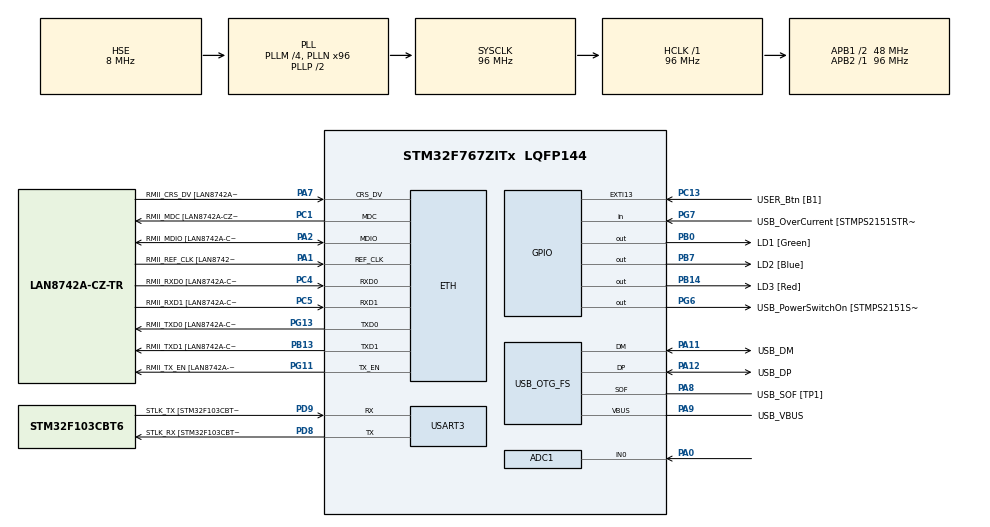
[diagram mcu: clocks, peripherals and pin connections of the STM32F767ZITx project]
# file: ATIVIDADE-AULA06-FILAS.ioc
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ADC1.Channel-0\#ChannelRegularConversion=ADC_CHANNEL_0
ADC1.NbrOfConversionFlag=1
ADC1.Rank-0\#ChannelRegularConversion=1
ADC1.SamplingTime-0\#ChannelRegularConversion=ADC_SAMPLETIME_3CYCLES
ADC1.master=1
ETH.MediaInterface=HAL_ETH_RMII_MODE
ETH.PHY_Name=LAN8742A_PHY_ADDRESS
ETH.PHY_Value=0
ETH.PhyAddress=0
FREERTOS.BinarySemaphores01=SemLiberaProdutor,Dynamic,NULL,Depleted;SemLiberaConsumidor,Dynamic,NULL,Depleted
FREERTOS.Queues01=FilaRobson,1024,uint16_t,0,Dynamic,NULL,NULL
FREERTOS.Tasks01=Tarefa_produtor,24,128,Tarefa_produtora_fun,Default,NULL,Dynamic,NULL,NULL;Tarefa_consumid,24,128,Tarefa_consumidora_fun,Default,NULL,Dynamic,NULL,NULL
FREERTOS.configUSE_NEWLIB_REENTRANT=1
Mcu.Family=STM32F7
Mcu.Name=STM32F767ZITx
Mcu.Package=LQFP144
NVIC.EXTI15_10_IRQn=true\:5\:0\:false\:false\:true\:true\:true\:true\:true
NVIC.PriorityGroup=NVIC_PRIORITYGROUP_4
NVIC.TIM1_UP_TIM10_IRQn=true\:15\:0\:false\:false\:true\:false\:false\:true\:true
NVIC.TimeBase=TIM1_UP_TIM10_IRQn
NVIC.TimeBaseIP=TIM1
PA0/WKUP.Signal=ADCx_IN0
PA1.GPIO_Label=RMII_REF_CLK [LAN8742A-CZ-TR_REFCLK0]
PA1.Mode=RMII
PA1.Signal=ETH_REF_CLK
PA10.GPIO_Label=USB_ID
PA10.Signal=USB_OTG_FS_ID
PA11.GPIO_Label=USB_DM
PA11.Mode=Device_Only
PA11.Signal=USB_OTG_FS_DM
PA12.GPIO_Label=USB_DP
PA12.Mode=Device_Only
PA12.Signal=USB_OTG_FS_DP
PA13.GPIO_Label=TMS
PA13.Mode=Serial_Wire
PA13.Signal=SYS_JTMS-SWDIO
PA14.GPIO_Label=TCK
PA14.Mode=Serial_Wire
PA14.Signal=SYS_JTCK-SWCLK
PA2.GPIO_Label=RMII_MDIO [LAN8742A-CZ-TR_MDIO]
PA2.Mode=RMII
PA2.Signal=ETH_MDIO
PA7.GPIO_Label=RMII_CRS_DV [LAN8742A-CZ-TR_CRS_DV]
PA7.Mode=RMII
PA7.Signal=ETH_CRS_DV
PA8.GPIO_Label=USB_SOF [TP1]
PA8.Mode=Activate_SOF_FS
PA8.Signal=USB_OTG_FS_SOF
PA9.GPIO_Label=USB_VBUS
PA9.Mode=Activate_VBUS
PA9.Signal=USB_OTG_FS_VBUS
PB0.GPIO_Label=LD1 [Green]
PB0.Signal=GPIO_Output
PB13.GPIO_Label=RMII_TXD1 [LAN8742A-CZ-TR_TXD1]
PB13.Mode=RMII
PB13.Signal=ETH_TXD1
PB14.GPIO_Label=LD3 [Red]
PB14.Signal=GPIO_Output
PB3.GPIO_Label=SWO
PB3.Signal=SYS_JTDO-SWO
PB7.GPIO_Label=LD2 [Blue]
PB7.Signal=GPIO_Output
PC1.GPIO_Label=RMII_MDC [LAN8742A-CZ-TR_MDC]
PC1.Mode=RMII
PC1.Signal=ETH_MDC
PC13.GPIO_Label=USER_Btn [B1]
PC13.Signal=GPXTI13
PC14/OSC32_IN.Mode=LSE-External-Oscillator
PC14/OSC32_IN.Signal=RCC_OSC32_IN
PC15/OSC32_OUT.Mode=LSE-External-Oscillator
PC15/OSC32_OUT.Signal=RCC_OSC32_OUT
PC4.GPIO_Label=RMII_RXD0 [LAN8742A-CZ-TR_RXD0]
PC4.Mode=RMII
PC4.Signal=ETH_RXD0
PC5.GPIO_Label=RMII_RXD1 [LAN8742A-CZ-TR_RXD1]
PC5.Mode=RMII
PC5.Signal=ETH_RXD1
PD8.GPIO_Label=STLK_RX [STM32F103CBT6_PA3]
PD8.Mode=Asynchronous
PD8.Signal=USART3_TX
PD9.GPIO_Label=STLK_TX [STM32F103CBT6_PA2]
PD9.Mode=Asynchronous
PD9.Signal=USART3_RX
PG11.GPIO_Label=RMII_TX_EN [LAN8742A-CZ-TR_TXEN]
PG11.Mode=RMII
PG11.Signal=ETH_TX_EN
PG13.GPIO_Label=RMII_TXD0 [LAN8742A-CZ-TR_TXD0]
PG13.Mode=RMII
PG13.Signal=ETH_TXD0
PG6.GPIO_Label=USB_PowerSwitchOn [STMPS2151STR_EN]
PG6.Signal=GPIO_Output
PG7.GPIO_Label=USB_OverCurrent [STMPS2151STR_FAULT]
PG7.Signal=GPIO_Input
PH0/OSC_IN.GPIO_Label=MCO [STM32F103CBT6_PA8]
PH0/OSC_IN.Mode=HSE-External-Clock-Source
PH0/OSC_IN.Signal=RCC_OSC_IN
PH1/OSC_OUT.Mode=HSE-External-Clock-Source
PH1/OSC_OUT.Signal=RCC_OSC_OUT
ProjectManager.HeapSize=0x200
ProjectManager.StackSize=0x400
ProjectManager.TargetToolchain=STM32CubeIDE
RCC.48MHZClocksFreq_Value=24000000
RCC.AHBFreq_Value=96000000
RCC.APB1CLKDivider=RCC_HCLK_DIV2
RCC.APB1Freq_Value=48000000
RCC.APB1TimFreq_Value=96000000
RCC.APB2Freq_Value=96000000
RCC.APB2TimFreq_Value=96000000
RCC.CortexFreq_Value=96000000
RCC.HCLKFreq_Value=96000000
RCC.HSE_VALUE=8000000
RCC.HSI_VALUE=16000000
RCC.PLLM=4
RCC.PLLMUL=RCC_PLL_MUL9
RCC.PLLN=96
RCC.PLLQ=4
RCC.PRESCALERUSB=RCC_USBCLKSOURCE_PLL_DIV1_5
RCC.SYSCLKFreq_VALUE=96000000
RCC.SYSCLKSource=RCC_SYSCLKSOURCE_PLLCLK
RCC.SYSCLKSourceVirtual=RCC_SYSCLKSOURCE_PLLCLK
RCC.USBFreq_Value=48000000
RCC.VCOOutputFreq_Value=192000000
SH.ADCx_IN0.0=ADC1_IN0,IN0
USART3.VirtualMode-Asynchronous=VM_ASYNC
USB_OTG_FS.VirtualMode=Device_Only
VP_FREERTOS_VS_CMSIS_V2.Mode=CMSIS_V2
VP_SYS_VS_tim1.Mode=TIM1
board=NUCLEO-F767ZI

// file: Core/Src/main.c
/* USER CODE BEGIN Header */
/**
  ******************************************************************************
  * @file           : main.c
  * @brief          : Main program body
  ******************************************************************************
  * @attention
  *
  * Copyright (c) 2025 STMicroelectronics.
  * All rights reserved.
  *
  * This software is licensed under terms that can be found in the LICENSE file
  * in the root directory of this software component.
  * If no LICENSE file comes with this software, it is provided AS-IS.
  *
  ******************************************************************************
  */
/* USER CODE END Header */
#include "main.h"
#include "string.h"
#include "cmsis_os.h"

#if defined ( __ICCARM__ ) /*!< IAR Compiler */
#pragma location=0x2007c000
ETH_DMADescTypeDef  DMARxDscrTab[ETH_RX_DESC_CNT]; /* Ethernet Rx DMA Descriptors */
#pragma location=0x2007c0a0
ETH_DMADescTypeDef  DMATxDscrTab[ETH_TX_DESC_CNT]; /* Ethernet Tx DMA Descriptors */

#elif defined ( __CC_ARM )  /* MDK ARM Compiler */

__attribute__((at(0x2007c000))) ETH_DMADescTypeDef  DMARxDscrTab[ETH_RX_DESC_CNT]; /* Ethernet Rx DMA Descriptors */
__attribute__((at(0x2007c0a0))) ETH_DMADescTypeDef  DMATxDscrTab[ETH_TX_DESC_CNT]; /* Ethernet Tx DMA Descriptors */

#elif defined ( __GNUC__ ) /* GNU Compiler */

ETH_DMADescTypeDef DMARxDscrTab[ETH_RX_DESC_CNT] __attribute__((section(".RxDecripSection"))); /* Ethernet Rx DMA Descriptors */
ETH_DMADescTypeDef DMATxDscrTab[ETH_TX_DESC_CNT] __attribute__((section(".TxDecripSection")));   /* Ethernet Tx DMA Descriptors */
#endif

ETH_TxPacketConfig TxConfig;

ADC_HandleTypeDef hadc1;

ETH_HandleTypeDef heth;

UART_HandleTypeDef huart3;

PCD_HandleTypeDef hpcd_USB_OTG_FS;

/* Definitions for Tarefa_produtor */
osThreadId_t Tarefa_produtorHandle;
const osThreadAttr_t Tarefa_produtor_attributes = {
  .name = "Tarefa_produtor",
  .stack_size = 128 * 4,
  .priority = (osPriority_t) osPriorityNormal,
};
/* Definitions for Tarefa_consumid */
osThreadId_t Tarefa_consumidHandle;
const osThreadAttr_t Tarefa_consumid_attributes = {
  .name = "Tarefa_consumid",
  .stack_size = 128 * 4,
  .priority = (osPriority_t) osPriorityNormal,
};
/* Definitions for FilaRobson */
osMessageQueueId_t FilaRobsonHandle;
const osMessageQueueAttr_t FilaRobson_attributes = {
  .name = "FilaRobson"
};
/* Definitions for SemLiberaProdutor */
osSemaphoreId_t SemLiberaProdutorHandle;
const osSemaphoreAttr_t SemLiberaProdutor_attributes = {
  .name = "SemLiberaProdutor"
};
/* Definitions for SemLiberaConsumidor */
osSemaphoreId_t SemLiberaConsumidorHandle;
const osSemaphoreAttr_t SemLiberaConsumidor_attributes = {
  .name = "SemLiberaConsumidor"
};
/* USER CODE BEGIN PV */

int lista_leitura_do_adc[1050];

/* USER CODE END PV */

void SystemClock_Config(void);
static void MX_GPIO_Init(void);
static void MX_ETH_Init(void);
static void MX_USART3_UART_Init(void);
static void MX_USB_OTG_FS_PCD_Init(void);
static void MX_ADC1_Init(void);
void Tarefa_produtora_fun(void *argument);
void Tarefa_consumidora_fun(void *argument);

int main(void)
{

  /* MCU Configuration--------------------------------------------------------*/

  /* Reset of all peripherals, Initializes the Flash interface and the Systick. */
  HAL_Init();

  /* Configure the system clock */
  SystemClock_Config();

  /* Initialize all configured peripherals */
  MX_GPIO_Init();
  MX_ETH_Init();
  MX_USART3_UART_Init();
  MX_USB_OTG_FS_PCD_Init();
  MX_ADC1_Init();

  /* Init scheduler */
  osKernelInitialize();

  /* Create the semaphores(s) */
  /* creation of SemLiberaProdutor */
  SemLiberaProdutorHandle = osSemaphoreNew(1, 0, &SemLiberaProdutor_attributes);

  /* creation of SemLiberaConsumidor */
  SemLiberaConsumidorHandle = osSemaphoreNew(1, 0, &SemLiberaConsumidor_attributes);

  /* Create the queue(s) */
  /* creation of FilaRobson */
  FilaRobsonHandle = osMessageQueueNew (1024, sizeof(uint16_t), &FilaRobson_attributes);

  /* Create the thread(s) */
  /* creation of Tarefa_produtor */
  Tarefa_produtorHandle = osThreadNew(Tarefa_produtora_fun, NULL, &Tarefa_produtor_attributes);

  /* creation of Tarefa_consumid */
  Tarefa_consumidHandle = osThreadNew(Tarefa_consumidora_fun, NULL, &Tarefa_consumid_attributes);

  /* Start scheduler */
  osKernelStart();

  /* We should never get here as control is now taken by the scheduler */

  /* Infinite loop */
  while (1)
  {

  }
}

void SystemClock_Config(void)
{
  RCC_OscInitTypeDef RCC_OscInitStruct = {0};
  RCC_ClkInitTypeDef RCC_ClkInitStruct = {0};

  /** Configure LSE Drive Capability
  */
  HAL_PWR_EnableBkUpAccess();

  /** Configure the main internal regulator output voltage
  */
  __HAL_RCC_PWR_CLK_ENABLE();
  __HAL_PWR_VOLTAGESCALING_CONFIG(PWR_REGULATOR_VOLTAGE_SCALE3);

  /** Initializes the RCC Oscillators according to the specified parameters
  * in the RCC_OscInitTypeDef structure.
  */
  RCC_OscInitStruct.OscillatorType = RCC_OSCILLATORTYPE_HSE;
  RCC_OscInitStruct.HSEState = RCC_HSE_BYPASS;
  RCC_OscInitStruct.PLL.PLLState = RCC_PLL_ON;
  RCC_OscInitStruct.PLL.PLLSource = RCC_PLLSOURCE_HSE;
  RCC_OscInitStruct.PLL.PLLM = 4;
  RCC_OscInitStruct.PLL.PLLN = 96;
  RCC_OscInitStruct.PLL.PLLP = RCC_PLLP_DIV2;
  RCC_OscInitStruct.PLL.PLLQ = 4;
  RCC_OscInitStruct.PLL.PLLR = 2;
  if (HAL_RCC_OscConfig(&RCC_OscInitStruct) != HAL_OK)
  {
    Error_Handler();
  }

  /** Activate the Over-Drive mode
  */
  if (HAL_PWREx_EnableOverDrive() != HAL_OK)
  {
    Error_Handler();
  }

  /** Initializes the CPU, AHB and APB buses clocks
  */
  RCC_ClkInitStruct.ClockType = RCC_CLOCKTYPE_HCLK|RCC_CLOCKTYPE_SYSCLK
                              |RCC_CLOCKTYPE_PCLK1|RCC_CLOCKTYPE_PCLK2;
  RCC_ClkInitStruct.SYSCLKSource = RCC_SYSCLKSOURCE_PLLCLK;
  RCC_ClkInitStruct.AHBCLKDivider = RCC_SYSCLK_DIV1;
  RCC_ClkInitStruct.APB1CLKDivider = RCC_HCLK_DIV2;
  RCC_ClkInitStruct.APB2CLKDivider = RCC_HCLK_DIV1;

  if (HAL_RCC_ClockConfig(&RCC_ClkInitStruct, FLASH_LATENCY_3) != HAL_OK)
  {
    Error_Handler();
  }
}

static void MX_ADC1_Init(void)
{

  ADC_ChannelConfTypeDef sConfig = {0};

  /** Configure the global features of the ADC (Clock, Resolution, Data Alignment and number of conversion)
  */
  hadc1.Instance = ADC1;
  hadc1.Init.ClockPrescaler = ADC_CLOCK_SYNC_PCLK_DIV4;
  hadc1.Init.Resolution = ADC_RESOLUTION_12B;
  hadc1.Init.ScanConvMode = ADC_SCAN_DISABLE;
  hadc1.Init.ContinuousConvMode = DISABLE;
  hadc1.Init.DiscontinuousConvMode = DISABLE;
  hadc1.Init.ExternalTrigConvEdge = ADC_EXTERNALTRIGCONVEDGE_NONE;
  hadc1.Init.ExternalTrigConv = ADC_SOFTWARE_START;
  hadc1.Init.DataAlign = ADC_DATAALIGN_RIGHT;
  hadc1.Init.NbrOfConversion = 1;
  hadc1.Init.DMAContinuousRequests = DISABLE;
  hadc1.Init.EOCSelection = ADC_EOC_SINGLE_CONV;
  if (HAL_ADC_Init(&hadc1) != HAL_OK)
  {
    Error_Handler();
  }

  /** Configure for the selected ADC regular channel its corresponding rank in the sequencer and its sample time.
  */
  sConfig.Channel = ADC_CHANNEL_0;
  sConfig.Rank = ADC_REGULAR_RANK_1;
  sConfig.SamplingTime = ADC_SAMPLETIME_3CYCLES;
  if (HAL_ADC_ConfigChannel(&hadc1, &sConfig) != HAL_OK)
  {
    Error_Handler();
  }

}

static void MX_ETH_Init(void)
{

   static uint8_t MACAddr[6];

  heth.Instance = ETH;
  MACAddr[0] = 0x00;
  MACAddr[1] = 0x80;
  MACAddr[2] = 0xE1;
  MACAddr[3] = 0x00;
  MACAddr[4] = 0x00;
  MACAddr[5] = 0x00;
  heth.Init.MACAddr = &MACAddr[0];
  heth.Init.MediaInterface = HAL_ETH_RMII_MODE;
  heth.Init.TxDesc = DMATxDscrTab;
  heth.Init.RxDesc = DMARxDscrTab;
  heth.Init.RxBuffLen = 1524;

  if (HAL_ETH_Init(&heth) != HAL_OK)
  {
    Error_Handler();
  }

  memset(&TxConfig, 0 , sizeof(ETH_TxPacketConfig));
  TxConfig.Attributes = ETH_TX_PACKETS_FEATURES_CSUM | ETH_TX_PACKETS_FEATURES_CRCPAD;
  TxConfig.ChecksumCtrl = ETH_CHECKSUM_IPHDR_PAYLOAD_INSERT_PHDR_CALC;
  TxConfig.CRCPadCtrl = ETH_CRC_PAD_INSERT;

}

static void MX_USART3_UART_Init(void)
{

  huart3.Instance = USART3;
  huart3.Init.BaudRate = 115200;
  huart3.Init.WordLength = UART_WORDLENGTH_8B;
  huart3.Init.StopBits = UART_STOPBITS_1;
  huart3.Init.Parity = UART_PARITY_NONE;
  huart3.Init.Mode = UART_MODE_TX_RX;
  huart3.Init.HwFlowCtl = UART_HWCONTROL_NONE;
  huart3.Init.OverSampling = UART_OVERSAMPLING_16;
  huart3.Init.OneBitSampling = UART_ONE_BIT_SAMPLE_DISABLE;
  huart3.AdvancedInit.AdvFeatureInit = UART_ADVFEATURE_NO_INIT;
  if (HAL_UART_Init(&huart3) != HAL_OK)
  {
    Error_Handler();
  }

}

static void MX_USB_OTG_FS_PCD_Init(void)
{

  hpcd_USB_OTG_FS.Instance = USB_OTG_FS;
  hpcd_USB_OTG_FS.Init.dev_endpoints = 6;
  hpcd_USB_OTG_FS.Init.speed = PCD_SPEED_FULL;
  hpcd_USB_OTG_FS.Init.dma_enable = DISABLE;
  hpcd_USB_OTG_FS.Init.phy_itface = PCD_PHY_EMBEDDED;
  hpcd_USB_OTG_FS.Init.Sof_enable = ENABLE;
  hpcd_USB_OTG_FS.Init.low_power_enable = DISABLE;
  hpcd_USB_OTG_FS.Init.lpm_enable = DISABLE;
  hpcd_USB_OTG_FS.Init.vbus_sensing_enable = ENABLE;
  hpcd_USB_OTG_FS.Init.use_dedicated_ep1 = DISABLE;
  if (HAL_PCD_Init(&hpcd_USB_OTG_FS) != HAL_OK)
  {
    Error_Handler();
  }

}

static void MX_GPIO_Init(void)
{
  GPIO_InitTypeDef GPIO_InitStruct = {0};

  /* GPIO Ports Clock Enable */
  __HAL_RCC_GPIOC_CLK_ENABLE();
  __HAL_RCC_GPIOH_CLK_ENABLE();
  __HAL_RCC_GPIOA_CLK_ENABLE();
  __HAL_RCC_GPIOB_CLK_ENABLE();
  __HAL_RCC_GPIOD_CLK_ENABLE();
  __HAL_RCC_GPIOG_CLK_ENABLE();

  /*Configure GPIO pin Output Level */
  HAL_GPIO_WritePin(GPIOB, LD1_Pin|LD3_Pin|LD2_Pin, GPIO_PIN_RESET);

  /*Configure GPIO pin Output Level */
  HAL_GPIO_WritePin(USB_PowerSwitchOn_GPIO_Port, USB_PowerSwitchOn_Pin, GPIO_PIN_RESET);

  /*Configure GPIO pin : USER_Btn_Pin */
  GPIO_InitStruct.Pin = USER_Btn_Pin;
  GPIO_InitStruct.Mode = GPIO_MODE_IT_RISING;
  GPIO_InitStruct.Pull = GPIO_NOPULL;
  HAL_GPIO_Init(USER_Btn_GPIO_Port, &GPIO_InitStruct);

  /*Configure GPIO pins : LD1_Pin LD3_Pin LD2_Pin */
  GPIO_InitStruct.Pin = LD1_Pin|LD3_Pin|LD2_Pin;
  GPIO_InitStruct.Mode = GPIO_MODE_OUTPUT_PP;
  GPIO_InitStruct.Pull = GPIO_NOPULL;
  GPIO_InitStruct.Speed = GPIO_SPEED_FREQ_LOW;
  HAL_GPIO_Init(GPIOB, &GPIO_InitStruct);

  /*Configure GPIO pin : USB_PowerSwitchOn_Pin */
  GPIO_InitStruct.Pin = USB_PowerSwitchOn_Pin;
  GPIO_InitStruct.Mode = GPIO_MODE_OUTPUT_PP;
  GPIO_InitStruct.Pull = GPIO_NOPULL;
  GPIO_InitStruct.Speed = GPIO_SPEED_FREQ_LOW;
  HAL_GPIO_Init(USB_PowerSwitchOn_GPIO_Port, &GPIO_InitStruct);

  /*Configure GPIO pin : USB_OverCurrent_Pin */
  GPIO_InitStruct.Pin = USB_OverCurrent_Pin;
  GPIO_InitStruct.Mode = GPIO_MODE_INPUT;
  GPIO_InitStruct.Pull = GPIO_NOPULL;
  HAL_GPIO_Init(USB_OverCurrent_GPIO_Port, &GPIO_InitStruct);

  /* EXTI interrupt init*/
  HAL_NVIC_SetPriority(EXTI15_10_IRQn, 5, 0);
  HAL_NVIC_EnableIRQ(EXTI15_10_IRQn);

}

/* USER CODE BEGIN 4 */

void HAL_GPIO_EXTI_Callback(uint16_t GPIO_Pin) {

	if (GPIO_Pin == GPIO_PIN_13) {

		char *str1 = "Interrupcao Ativa\n";
		HAL_UART_Transmit(&huart3, (uint8_t *) str1,strlen (str1), HAL_MAX_DELAY);

		osSemaphoreRelease(SemLiberaProdutorHandle);
	}
}

/* USER CODE END 4 */

void Tarefa_produtora_fun(void *argument)
{
  /* USER CODE BEGIN 5 */
	char *str1 = "Entrando na tarefa produtora...\n";
	char *str2 = "Saindo da tarefa produtora...\n";

	int valor_adc;
  /* Infinite loop */
  for(;;)
  {

	if(osSemaphoreAcquire(SemLiberaProdutorHandle, osWaitForever) == osOK) {

		HAL_UART_Transmit(&huart3, (uint8_t *) str1, strlen(str1), HAL_MAX_DELAY);

		for (int i=0; i<1024; i++) {
			HAL_ADC_Start(&hadc1);
			if (HAL_ADC_PollForConversion(&hadc1, 100) == HAL_OK) {
				valor_adc = HAL_ADC_GetValue(&hadc1);
				osMessageQueuePut(FilaRobsonHandle, &valor_adc, 0, osWaitForever);
			}
			HAL_ADC_Stop(&hadc1);
			osDelay(1);
		}

		HAL_UART_Transmit(&huart3, (uint8_t *) str2, strlen(str2), HAL_MAX_DELAY);

		osSemaphoreRelease(SemLiberaConsumidorHandle);
	}
    osDelay(1000);
  }
  /* USER CODE END 5 */
}

void Tarefa_consumidora_fun(void *argument)
{
  /* USER CODE BEGIN Tarefa_consumidora_fun */
	char *str1 = "Entrando na tarefa consumidora...\n";
	char *str2 = "Saindo da tarefa consumidora...\n";

	uint16_t recebido;
	uint32_t soma = 0;
	char msg[128];
	uint16_t media;

  /* Infinite loop */
  for(;;)
  {

	if (osSemaphoreAcquire(SemLiberaConsumidorHandle, osWaitForever) == osOK) {

		HAL_UART_Transmit(&huart3, (uint8_t *) str1, strlen(str1), HAL_MAX_DELAY);

		soma = 0;
		for (int i=0; i<1024; i++) {
			osMessageQueueGet(FilaRobsonHandle, &recebido, NULL, osWaitForever);
			soma += recebido;
		}

		media = soma / 1024;

		snprintf(msg, sizeof(msg), "Media das amostras: %u\n", media);
		HAL_UART_Transmit(&huart3, (uint8_t*) msg, strlen(msg), HAL_MAX_DELAY);

		HAL_UART_Transmit(&huart3, (uint8_t *) str2, strlen(str2), HAL_MAX_DELAY);
	}
    osDelay(1000);
  }
  /* USER CODE END Tarefa_consumidora_fun */
}

void HAL_TIM_PeriodElapsedCallback(TIM_HandleTypeDef *htim)
{
  if (htim->Instance == TIM1)
  {
    HAL_IncTick();
  }
}

void Error_Handler(void)
{
  __disable_irq();
  while (1)
  {
  }
}
